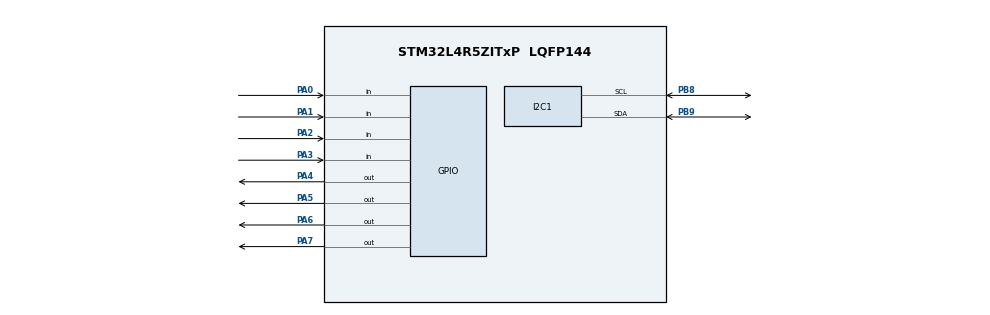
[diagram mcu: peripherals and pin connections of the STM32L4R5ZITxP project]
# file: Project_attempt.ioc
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I2C1.Speed=40
I2C1.Timing=0x00000E50
Mcu.Family=STM32L4
Mcu.Name=STM32L4R5ZITxP
Mcu.Package=LQFP144
NVIC.PriorityGroup=NVIC_PRIORITYGROUP_4
PA0.Signal=GPIO_Input
PA1.Signal=GPIO_Input
PA10.Signal=USB_OTG_FS_ID
PA13\ (JTMS/SWDIO).Signal=SYS_JTMS-SWDIO
PA14\ (JTCK/SWCLK).Signal=SYS_JTCK-SWCLK
PA2.Signal=GPIO_Input
PA3.Signal=GPIO_Input
PA4.Signal=GPIO_Output
PA5.Signal=GPIO_Output
PA6.Signal=GPIO_Output
PA7.Signal=GPIO_Output
PA8.Signal=USB_OTG_FS_SOF
PA9.Signal=USB_OTG_FS_VBUS
PB0.Signal=S_TIM3_CH3
PB1.Signal=ADCx_IN16
PB10.Signal=S_TIM2_CH3
PB12.Signal=SAI2_FS_A
PB13.Signal=SAI2_SCK_A
PB14.Signal=S_TIM15_CH1
PB15.Signal=SAI2_SD_A
PB2.Signal=COMP1_INP
PB3\ (JTDO/TRACESWO).Signal=SPI3_SCK
PB4\ (NJTRST).Signal=SPI3_MISO
PB5.Signal=SPI3_MOSI
PB6.Signal=COMP2_INP
PB8.Mode=I2C
PB8.Signal=I2C1_SCL
PB9.Mode=I2C
PB9.Signal=I2C1_SDA
PC0.Signal=ADCx_IN1
PC1.Signal=ADCx_IN2
PC10.Signal=SDMMC1_D2
PC11.Signal=SDMMC1_D3
PC12.Signal=SDMMC1_CK
PC13.Signal=SYS_WKUP2
PC14-OSC32_IN\ (PC14).Signal=RCC_OSC32_IN
PC15-OSC32_OUT\ (PC15).Signal=RCC_OSC32_OUT
PC2.Signal=ADCx_IN3
PC3.Signal=ADCx_IN4
PC4.Signal=ADCx_IN13
PC5.Signal=ADCx_IN14
PC6.Signal=SAI2_MCLK_A
PC7.Signal=S_TIM3_CH2
PC8.Signal=SDMMC1_D0
PC9.Signal=SDMMC1_D1
PD0.Signal=CAN1_RX
PD14.Signal=S_TIM4_CH3
PD15.Signal=S_TIM4_CH4
PD2.Signal=SDMMC1_CMD
PD3.Signal=USART2_CTS
PD4.Signal=USART2_RTS
PD5.Signal=USART2_TX
PD6.Signal=USART2_RX
PD8.Signal=USART3_TX
PD9.Signal=USART3_RX
PE0.Signal=S_TIM4_ETR
PE10.Signal=TIM1_CH2N
PE11.Signal=S_TIM1_CH2
PE12.Signal=TIM1_CH3N
PE13.Signal=S_TIM1_CH3
PE14.Signal=TIM1_BKIN2
PE15.Signal=TIM1_BKIN
PE2.Signal=SAI1_MCLK_A
PE3.Signal=SAI1_SD_B
PE7.Signal=S_TIM1_ETR
PE8.Signal=TIM1_CH1N
PE9.Signal=S_TIM1_CH1
PF0.Signal=I2C2_SDA
PF1.Signal=I2C2_SCL
PF2.Signal=I2C2_SMBA
PF7.Signal=SAI1_MCLK_B
PG7.Signal=LPUART1_TX
PG8.Signal=LPUART1_RX
PH0-OSC_IN\ (PH0).Signal=RCC_OSC_IN
PH1-OSC_OUT\ (PH1).Signal=RCC_OSC_OUT
ProjectManager.HeapSize=0x200
ProjectManager.StackSize=0x400
ProjectManager.TargetToolchain=STM32CubeIDE
RCC.HSE_VALUE=8000000
RCC.HSI48_VALUE=48000000
RCC.HSI_VALUE=16000000
RCC.LSE_VALUE=32768
RCC.MSI_VALUE=4000000
RCC.VCOOutputFreq_Value=32000000
SH.ADCx_IN1.0=ADC1_IN1
SH.ADCx_IN13.0=ADC1_IN13
SH.ADCx_IN14.0=ADC1_IN14
SH.ADCx_IN16.0=ADC1_IN16
SH.ADCx_IN2.0=ADC1_IN2
SH.ADCx_IN3.0=ADC1_IN3
SH.ADCx_IN4.0=ADC1_IN4
SH.S_TIM15_CH1.0=TIM15_CH1
SH.S_TIM1_CH1.0=TIM1_CH1
SH.S_TIM1_CH2.0=TIM1_CH2
SH.S_TIM1_CH3.0=TIM1_CH3
SH.S_TIM1_ETR.0=TIM1_ETR
SH.S_TIM2_CH3.0=TIM2_CH3
SH.S_TIM3_CH2.0=TIM3_CH2
SH.S_TIM3_CH3.0=TIM3_CH3
SH.S_TIM4_CH3.0=TIM4_CH3
SH.S_TIM4_CH4.0=TIM4_CH4
SH.S_TIM4_ETR.0=TIM4_ETR
board=NUCLEO-L4R5ZI-P

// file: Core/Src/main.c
/* USER CODE BEGIN Header */
/**
  ******************************************************************************
  * @file           : main.c
  * @brief          : Main program body
  ******************************************************************************
  ** This notice applies to any and all portions of this file
  * that are not between comment pairs USER CODE BEGIN and
  * USER CODE END. Other portions of this file, whether
  * inserted by the user or by software development tools
  * are owned by their respective copyright owners.
  *
  * COPYRIGHT(c) 2019 STMicroelectronics
  *
  * Redistribution and use in source and binary forms, with or without modification,
  * are permitted provided that the following conditions are met:
  *   1. Redistributions of source code must retain the above copyright notice,
  *      this list of conditions and the following disclaimer.
  *   2. Redistributions in binary form must reproduce the above copyright notice,
  *      this list of conditions and the following disclaimer in the documentation
  *      and/or other materials provided with the distribution.
  *   3. Neither the name of STMicroelectronics nor the names of its contributors
  *      may be used to endorse or promote products derived from this software
  *      without specific prior written permission.
  *
  * THIS SOFTWARE IS PROVIDED BY THE COPYRIGHT HOLDERS AND CONTRIBUTORS "AS IS"
  * AND ANY EXPRESS OR IMPLIED WARRANTIES, INCLUDING, BUT NOT LIMITED TO, THE
  * IMPLIED WARRANTIES OF MERCHANTABILITY AND FITNESS FOR A PARTICULAR PURPOSE ARE
  * DISCLAIMED. IN NO EVENT SHALL THE COPYRIGHT HOLDER OR CONTRIBUTORS BE LIABLE
  * FOR ANY DIRECT, INDIRECT, INCIDENTAL, SPECIAL, EXEMPLARY, OR CONSEQUENTIAL
  * DAMAGES (INCLUDING, BUT NOT LIMITED TO, PROCUREMENT OF SUBSTITUTE GOODS OR
  * SERVICES; LOSS OF USE, DATA, OR PROFITS; OR BUSINESS INTERRUPTION) HOWEVER
  * CAUSED AND ON ANY THEORY OF LIABILITY, WHETHER IN CONTRACT, STRICT LIABILITY,
  * OR TORT (INCLUDING NEGLIGENCE OR OTHERWISE) ARISING IN ANY WAY OUT OF THE USE
  * OF THIS SOFTWARE, EVEN IF ADVISED OF THE POSSIBILITY OF SUCH DAMAGE.
  *
  ******************************************************************************
  */
/* USER CODE END Header */
#include "main.h"
#include <string.h>
/* USER CODE BEGIN Includes */
#include "i2c-lcd.h"
/* USER CODE END Includes */

/* USER CODE BEGIN PD */
#define R1_PORT GPIOA
#define R1_PIN GPIO_PIN_7

#define R2_PORT GPIOA
#define R2_PIN GPIO_PIN_6

#define R3_PORT GPIOA
#define R3_PIN GPIO_PIN_5

#define R4_PORT GPIOA
#define R4_PIN GPIO_PIN_4

#define C1_PORT GPIOA
#define C1_PIN GPIO_PIN_3

#define C2_PORT GPIOA
#define C2_PIN GPIO_PIN_2

#define C3_PORT GPIOA
#define C3_PIN GPIO_PIN_1

#define C4_PORT GPIOA
#define C4_PIN GPIO_PIN_0

/* USER CODE END PD */

I2C_HandleTypeDef hi2c1;

void SystemClock_Config(void);
static void MX_GPIO_Init(void);
static void MX_I2C1_Init(void);

/* USER CODE BEGIN 0 */
uint8_t key;

char read_keypad (void)
{
	/* Make ROW 1 LOW and all other ROWs HIGH */
	HAL_GPIO_WritePin (R1_PORT, R1_PIN, 0);  //Pull the R1 low
	HAL_GPIO_WritePin (R2_PORT, R2_PIN, 1);  // Pull the R2 High
	HAL_GPIO_WritePin (R3_PORT, R3_PIN, 1);  // Pull the R3 High
	HAL_GPIO_WritePin (R4_PORT, R4_PIN, 1);  // Pull the R4 High

	if (!(HAL_GPIO_ReadPin (C1_PORT, C1_PIN)))   // if the Col 1 is low
	{
		while (!(HAL_GPIO_ReadPin (C1_PORT, C1_PIN)));   // wait till the button is pressed
		lcd_send_data(0x31); // i
		return '1';
	}

	if (!(HAL_GPIO_ReadPin (C2_PORT, C2_PIN)))   // if the Col 2 is low
	{
		while (!(HAL_GPIO_ReadPin (C2_PORT, C2_PIN)));   // wait till the button is pressed
		lcd_send_data(0x32); // i
		return '2';
	}

	if (!(HAL_GPIO_ReadPin (C3_PORT, C3_PIN)))   // if the Col 3 is low
	{
		while (!(HAL_GPIO_ReadPin (C3_PORT, C3_PIN)));   // wait till the button is pressed
		lcd_send_data(0x33); // i
		return '3';
	}

	if (!(HAL_GPIO_ReadPin (C4_PORT, C4_PIN)))   // if the Col 4 is low
	{
		while (!(HAL_GPIO_ReadPin (C4_PORT, C4_PIN)));   // wait till the button is pressed
		lcd_send_data(0x41); // i
		return 'A';
	}

	/* Make ROW 2 LOW and all other ROWs HIGH */
	HAL_GPIO_WritePin (R1_PORT, R1_PIN, 1);  //Pull the R1 low
	HAL_GPIO_WritePin (R2_PORT, R2_PIN, 0);  // Pull the R2 High
	HAL_GPIO_WritePin (R3_PORT, R3_PIN, 1);  // Pull the R3 High
	HAL_GPIO_WritePin (R4_PORT, R4_PIN, 1);  // Pull the R4 High

	if (!(HAL_GPIO_ReadPin (C1_PORT, C1_PIN)))   // if the Col 1 is low
	{
		while (!(HAL_GPIO_ReadPin (C1_PORT, C1_PIN)));   // wait till the button is pressed
		lcd_send_data(0x34); // i
		return '4';
	}

	if (!(HAL_GPIO_ReadPin (C2_PORT, C2_PIN)))   // if the Col 2 is low
	{
		while (!(HAL_GPIO_ReadPin (C2_PORT, C2_PIN)));   // wait till the button is pressed
		lcd_send_data(0x35); // i
		return '5';
	}

	if (!(HAL_GPIO_ReadPin (C3_PORT, C3_PIN)))   // if the Col 3 is low
	{
		while (!(HAL_GPIO_ReadPin (C3_PORT, C3_PIN)));   // wait till the button is pressed
		lcd_send_data(0x36); // i
		return '6';
	}

	if (!(HAL_GPIO_ReadPin (C4_PORT, C4_PIN)))   // if the Col 4 is low
	{
		while (!(HAL_GPIO_ReadPin (C4_PORT, C4_PIN)));   // wait till the button is pressed
		lcd_send_data(0x42); // i
		return 'B';
	}

	/* Make ROW 3 LOW and all other ROWs HIGH */
	HAL_GPIO_WritePin (R1_PORT, R1_PIN, 1);  //Pull the R1 low
	HAL_GPIO_WritePin (R2_PORT, R2_PIN, 1);  // Pull the R2 High
	HAL_GPIO_WritePin (R3_PORT, R3_PIN, 0);  // Pull the R3 High
	HAL_GPIO_WritePin (R4_PORT, R4_PIN, 1);  // Pull the R4 High

	if (!(HAL_GPIO_ReadPin (C1_PORT, C1_PIN)))   // if the Col 1 is low
	{
		while (!(HAL_GPIO_ReadPin (C1_PORT, C1_PIN)));   // wait till the button is pressed
		lcd_send_data(0x37); // i
		return '7';
	}

	if (!(HAL_GPIO_ReadPin (C2_PORT, C2_PIN)))   // if the Col 2 is low
	{
		while (!(HAL_GPIO_ReadPin (C2_PORT, C2_PIN)));   // wait till the button is pressed
		lcd_send_data(0x38); // i
		return '8';
	}

	if (!(HAL_GPIO_ReadPin (C3_PORT, C3_PIN)))   // if the Col 3 is low
	{
		while (!(HAL_GPIO_ReadPin (C3_PORT, C3_PIN)));   // wait till the button is pressed
		lcd_send_data(0x39); // i
		return '9';
	}

	if (!(HAL_GPIO_ReadPin (C4_PORT, C4_PIN)))   // if the Col 4 is low
	{
		while (!(HAL_GPIO_ReadPin (C4_PORT, C4_PIN)));   // wait till the button is pressed
		return 'C';
	}

	/* Make ROW 4 LOW and all other ROWs HIGH */
	HAL_GPIO_WritePin (R1_PORT, R1_PIN, 1);  //Pull the R1 low
	HAL_GPIO_WritePin (R2_PORT, R2_PIN, 1);  // Pull the R2 High
	HAL_GPIO_WritePin (R3_PORT, R3_PIN, 1);  // Pull the R3 High
	HAL_GPIO_WritePin (R4_PORT, R4_PIN, 0);  // Pull the R4 High

	if (!(HAL_GPIO_ReadPin (C1_PORT, C1_PIN)))   // if the Col 1 is low
	{
		while (!(HAL_GPIO_ReadPin (C1_PORT, C1_PIN)));   // wait till the button is pressed
		return '*';
	}

	if (!(HAL_GPIO_ReadPin (C2_PORT, C2_PIN)))   // if the Col 2 is low
	{
		while (!(HAL_GPIO_ReadPin (C2_PORT, C2_PIN)));   // wait till the button is pressed
		lcd_send_data(0x30); // i
		return '0';
	}

	if (!(HAL_GPIO_ReadPin (C3_PORT, C3_PIN)))   // if the Col 3 is low
	{
		while (!(HAL_GPIO_ReadPin (C3_PORT, C3_PIN)));   // wait till the button is pressed
		lcd_send_data(0x23); // i
		return '#';
	}

	if (!(HAL_GPIO_ReadPin (C4_PORT, C4_PIN)))   // if the Col 4 is low
	{
		while (!(HAL_GPIO_ReadPin (C4_PORT, C4_PIN)));   // wait till the button is pressed
		lcd_send_data(0x44); // i
		return 'D';
	}

	return 0; // if returned, 0, we got an error

}

/* USER CODE END 0 */

int main(void)
{

  /* MCU Configuration--------------------------------------------------------*/

  /* Reset of all peripherals, Initializes the Flash interface and the Systick. */
  HAL_Init();

  /* Configure the system clock */
  SystemClock_Config();

  /* Initialize all configured peripherals */
  MX_GPIO_Init();
  MX_I2C1_Init();
  /* USER CODE BEGIN 2 */
  lcd_init();
  /* USER CODE END 2 */

  /* Infinite loop */
  /* USER CODE BEGIN WHILE */
char real_password[8] = "28664#D";
char nice[] = "69420";
char pass[11] = "\0";
int index = 0;

  while (1)
  {
    /* USER CODE END WHILE */

    /* USER CODE BEGIN 3 */
	  	 // Initialize an empty password of size 10 because of Null
	    char key = 0;
	    while (!key) {
	    	key = read_keypad ();
	    }
		if (key != 'C' && key != '*' && strlen(pass) < 10) {
		    // Append the key to the string
			pass[index++] = key;
			pass[index] = '\0';
		}
		if (key == 'C'){
			pass[0] = '\0';
			index = 0;
			lcd_init();
  	  	  }
		if (key == '*'){
			if (!strcmp(pass, nice)){
				lcd_nice();
			}
			else if (!strcmp(pass, real_password)) {
			     lcd_correct_pass();
			} else {
			     lcd_incorrect_pass();
			}
			pass[0] = '\0';
			index = 0;
			lcd_init();
		}

//		if (key!=0x01)
//		{
//		//lcd_send_cmd (0x85); dont know what this was supposed to be
//		lcd_send_data (key);
//		}
  }
  /* USER CODE END 3 */
}

void SystemClock_Config(void)
{
  RCC_OscInitTypeDef RCC_OscInitStruct = {0};
  RCC_ClkInitTypeDef RCC_ClkInitStruct = {0};

  /** Configure the main internal regulator output voltage
  */
  if (HAL_PWREx_ControlVoltageScaling(PWR_REGULATOR_VOLTAGE_SCALE1) != HAL_OK)
  {
    Error_Handler();
  }

  /** Initializes the RCC Oscillators according to the specified parameters
  * in the RCC_OscInitTypeDef structure.
  */
  RCC_OscInitStruct.OscillatorType = RCC_OSCILLATORTYPE_MSI;
  RCC_OscInitStruct.MSIState = RCC_MSI_ON;
  RCC_OscInitStruct.MSICalibrationValue = 0;
  RCC_OscInitStruct.MSIClockRange = RCC_MSIRANGE_6;
  RCC_OscInitStruct.PLL.PLLState = RCC_PLL_NONE;
  if (HAL_RCC_OscConfig(&RCC_OscInitStruct) != HAL_OK)
  {
    Error_Handler();
  }

  /** Initializes the CPU, AHB and APB buses clocks
  */
  RCC_ClkInitStruct.ClockType = RCC_CLOCKTYPE_HCLK|RCC_CLOCKTYPE_SYSCLK
                              |RCC_CLOCKTYPE_PCLK1|RCC_CLOCKTYPE_PCLK2;
  RCC_ClkInitStruct.SYSCLKSource = RCC_SYSCLKSOURCE_MSI;
  RCC_ClkInitStruct.AHBCLKDivider = RCC_SYSCLK_DIV1;
  RCC_ClkInitStruct.APB1CLKDivider = RCC_HCLK_DIV1;
  RCC_ClkInitStruct.APB2CLKDivider = RCC_HCLK_DIV1;

  if (HAL_RCC_ClockConfig(&RCC_ClkInitStruct, FLASH_LATENCY_0) != HAL_OK)
  {
    Error_Handler();
  }
}

static void MX_I2C1_Init(void)
{

  hi2c1.Instance = I2C1;
  hi2c1.Init.Timing = 0x00000E50;
  hi2c1.Init.OwnAddress1 = 0;
  hi2c1.Init.AddressingMode = I2C_ADDRESSINGMODE_7BIT;
  hi2c1.Init.DualAddressMode = I2C_DUALADDRESS_DISABLE;
  hi2c1.Init.OwnAddress2 = 0;
  hi2c1.Init.OwnAddress2Masks = I2C_OA2_NOMASK;
  hi2c1.Init.GeneralCallMode = I2C_GENERALCALL_DISABLE;
  hi2c1.Init.NoStretchMode = I2C_NOSTRETCH_DISABLE;
  if (HAL_I2C_Init(&hi2c1) != HAL_OK)
  {
    Error_Handler();
  }

  /** Configure Analogue filter
  */
  if (HAL_I2CEx_ConfigAnalogFilter(&hi2c1, I2C_ANALOGFILTER_ENABLE) != HAL_OK)
  {
    Error_Handler();
  }

  /** Configure Digital filter
  */
  if (HAL_I2CEx_ConfigDigitalFilter(&hi2c1, 0) != HAL_OK)
  {
    Error_Handler();
  }

}

static void MX_GPIO_Init(void)
{
  GPIO_InitTypeDef GPIO_InitStruct = {0};

  /* GPIO Ports Clock Enable */
  __HAL_RCC_GPIOE_CLK_ENABLE();
  __HAL_RCC_GPIOC_CLK_ENABLE();
  __HAL_RCC_GPIOF_CLK_ENABLE();
  __HAL_RCC_GPIOH_CLK_ENABLE();
  __HAL_RCC_GPIOA_CLK_ENABLE();
  __HAL_RCC_GPIOB_CLK_ENABLE();
  __HAL_RCC_GPIOD_CLK_ENABLE();
  __HAL_RCC_GPIOG_CLK_ENABLE();
  HAL_PWREx_EnableVddIO2();

  /*Configure GPIO pin Output Level */
  HAL_GPIO_WritePin(GPIOA, GPIO_PIN_4|GPIO_PIN_5|GPIO_PIN_6|GPIO_PIN_7, GPIO_PIN_RESET);

  /*Configure GPIO pins : PE2 PE3 */
  GPIO_InitStruct.Pin = GPIO_PIN_2|GPIO_PIN_3;
  GPIO_InitStruct.Mode = GPIO_MODE_AF_PP;
  GPIO_InitStruct.Pull = GPIO_NOPULL;
  GPIO_InitStruct.Speed = GPIO_SPEED_FREQ_LOW;
  GPIO_InitStruct.Alternate = GPIO_AF13_SAI1;
  HAL_GPIO_Init(GPIOE, &GPIO_InitStruct);

  /*Configure GPIO pins : PF0 PF1 PF2 */
  GPIO_InitStruct.Pin = GPIO_PIN_0|GPIO_PIN_1|GPIO_PIN_2;
  GPIO_InitStruct.Mode = GPIO_MODE_AF_OD;
  GPIO_InitStruct.Pull = GPIO_NOPULL;
  GPIO_InitStruct.Speed = GPIO_SPEED_FREQ_VERY_HIGH;
  GPIO_InitStruct.Alternate = GPIO_AF4_I2C2;
  HAL_GPIO_Init(GPIOF, &GPIO_InitStruct);

  /*Configure GPIO pin : PF7 */
  GPIO_InitStruct.Pin = GPIO_PIN_7;
  GPIO_InitStruct.Mode = GPIO_MODE_AF_PP;
  GPIO_InitStruct.Pull = GPIO_NOPULL;
  GPIO_InitStruct.Speed = GPIO_SPEED_FREQ_LOW;
  GPIO_InitStruct.Alternate = GPIO_AF13_SAI1;
  HAL_GPIO_Init(GPIOF, &GPIO_InitStruct);

  /*Configure GPIO pins : PC0 PC1 PC2 PC3
                           PC4 PC5 */
  GPIO_InitStruct.Pin = GPIO_PIN_0|GPIO_PIN_1|GPIO_PIN_2|GPIO_PIN_3
                          |GPIO_PIN_4|GPIO_PIN_5;
  GPIO_InitStruct.Mode = GPIO_MODE_ANALOG_ADC_CONTROL;
  GPIO_InitStruct.Pull = GPIO_NOPULL;
  HAL_GPIO_Init(GPIOC, &GPIO_InitStruct);

  /*Configure GPIO pins : PA0 PA1 PA2 PA3 */
  GPIO_InitStruct.Pin = GPIO_PIN_0|GPIO_PIN_1|GPIO_PIN_2|GPIO_PIN_3;
  GPIO_InitStruct.Mode = GPIO_MODE_INPUT;
  GPIO_InitStruct.Pull = GPIO_NOPULL;
  HAL_GPIO_Init(GPIOA, &GPIO_InitStruct);

  /*Configure GPIO pins : PA4 PA5 PA6 PA7 */
  GPIO_InitStruct.Pin = GPIO_PIN_4|GPIO_PIN_5|GPIO_PIN_6|GPIO_PIN_7;
  GPIO_InitStruct.Mode = GPIO_MODE_OUTPUT_PP;
  GPIO_InitStruct.Pull = GPIO_NOPULL;
  GPIO_InitStruct.Speed = GPIO_SPEED_FREQ_LOW;
  HAL_GPIO_Init(GPIOA, &GPIO_InitStruct);

  /*Configure GPIO pin : PB0 */
  GPIO_InitStruct.Pin = GPIO_PIN_0;
  GPIO_InitStruct.Mode = GPIO_MODE_AF_PP;
  GPIO_InitStruct.Pull = GPIO_NOPULL;
  GPIO_InitStruct.Speed = GPIO_SPEED_FREQ_LOW;
  GPIO_InitStruct.Alternate = GPIO_AF2_TIM3;
  HAL_GPIO_Init(GPIOB, &GPIO_InitStruct);

  /*Configure GPIO pin : PB1 */
  GPIO_InitStruct.Pin = GPIO_PIN_1;
  GPIO_InitStruct.Mode = GPIO_MODE_ANALOG_ADC_CONTROL;
  GPIO_InitStruct.Pull = GPIO_NOPULL;
  HAL_GPIO_Init(GPIOB, &GPIO_InitStruct);

  /*Configure GPIO pins : PB2 PB6 */
  GPIO_InitStruct.Pin = GPIO_PIN_2|GPIO_PIN_6;
  GPIO_InitStruct.Mode = GPIO_MODE_ANALOG;
  GPIO_InitStruct.Pull = GPIO_NOPULL;
  HAL_GPIO_Init(GPIOB, &GPIO_InitStruct);

  /*Configure GPIO pins : PE7 PE8 PE9 PE10
                           PE11 PE12 PE13 */
  GPIO_InitStruct.Pin = GPIO_PIN_7|GPIO_PIN_8|GPIO_PIN_9|GPIO_PIN_10
                          |GPIO_PIN_11|GPIO_PIN_12|GPIO_PIN_13;
  GPIO_InitStruct.Mode = GPIO_MODE_AF_PP;
  GPIO_InitStruct.Pull = GPIO_NOPULL;
  GPIO_InitStruct.Speed = GPIO_SPEED_FREQ_LOW;
  GPIO_InitStruct.Alternate = GPIO_AF1_TIM1;
  HAL_GPIO_Init(GPIOE, &GPIO_InitStruct);

  /*Configure GPIO pins : PE14 PE15 */
  GPIO_InitStruct.Pin = GPIO_PIN_14|GPIO_PIN_15;
  GPIO_InitStruct.Mode = GPIO_MODE_AF_PP;
  GPIO_InitStruct.Pull = GPIO_NOPULL;
  GPIO_InitStruct.Speed = GPIO_SPEED_FREQ_LOW;
  GPIO_InitStruct.Alternate = GPIO_AF3_TIM1_COMP1;
  HAL_GPIO_Init(GPIOE, &GPIO_InitStruct);

  /*Configure GPIO pin : PB10 */
  GPIO_InitStruct.Pin = GPIO_PIN_10;
  GPIO_InitStruct.Mode = GPIO_MODE_AF_PP;
  GPIO_InitStruct.Pull = GPIO_NOPULL;
  GPIO_InitStruct.Speed = GPIO_SPEED_FREQ_LOW;
  GPIO_InitStruct.Alternate = GPIO_AF1_TIM2;
  HAL_GPIO_Init(GPIOB, &GPIO_InitStruct);

  /*Configure GPIO pins : PB12 PB13 PB15 */
  GPIO_InitStruct.Pin = GPIO_PIN_12|GPIO_PIN_13|GPIO_PIN_15;
  GPIO_InitStruct.Mode = GPIO_MODE_AF_PP;
  GPIO_InitStruct.Pull = GPIO_NOPULL;
  GPIO_InitStruct.Speed = GPIO_SPEED_FREQ_LOW;
  GPIO_InitStruct.Alternate = GPIO_AF13_SAI2;
  HAL_GPIO_Init(GPIOB, &GPIO_InitStruct);

  /*Configure GPIO pin : PB14 */
  GPIO_InitStruct.Pin = GPIO_PIN_14;
  GPIO_InitStruct.Mode = GPIO_MODE_AF_PP;
  GPIO_InitStruct.Pull = GPIO_NOPULL;
  GPIO_InitStruct.Speed = GPIO_SPEED_FREQ_LOW;
  GPIO_InitStruct.Alternate = GPIO_AF14_TIM15;
  HAL_GPIO_Init(GPIOB, &GPIO_InitStruct);

  /*Configure GPIO pins : PD8 PD9 */
  GPIO_InitStruct.Pin = GPIO_PIN_8|GPIO_PIN_9;
  GPIO_InitStruct.Mode = GPIO_MODE_AF_PP;
  GPIO_InitStruct.Pull = GPIO_NOPULL;
  GPIO_InitStruct.Speed = GPIO_SPEED_FREQ_VERY_HIGH;
  GPIO_InitStruct.Alternate = GPIO_AF7_USART3;
  HAL_GPIO_Init(GPIOD, &GPIO_InitStruct);

  /*Configure GPIO pins : PD14 PD15 */
  GPIO_InitStruct.Pin = GPIO_PIN_14|GPIO_PIN_15;
  GPIO_InitStruct.Mode = GPIO_MODE_AF_PP;
  GPIO_InitStruct.Pull = GPIO_NOPULL;
  GPIO_InitStruct.Speed = GPIO_SPEED_FREQ_LOW;
  GPIO_InitStruct.Alternate = GPIO_AF2_TIM4;
  HAL_GPIO_Init(GPIOD, &GPIO_InitStruct);

  /*Configure GPIO pins : PG7 PG8 */
  GPIO_InitStruct.Pin = GPIO_PIN_7|GPIO_PIN_8;
  GPIO_InitStruct.Mode = GPIO_MODE_AF_PP;
  GPIO_InitStruct.Pull = GPIO_NOPULL;
  GPIO_InitStruct.Speed = GPIO_SPEED_FREQ_VERY_HIGH;
  GPIO_InitStruct.Alternate = GPIO_AF8_LPUART1;
  HAL_GPIO_Init(GPIOG, &GPIO_InitStruct);

  /*Configure GPIO pin : PC6 */
  GPIO_InitStruct.Pin = GPIO_PIN_6;
  GPIO_InitStruct.Mode = GPIO_MODE_AF_PP;
  GPIO_InitStruct.Pull = GPIO_NOPULL;
  GPIO_InitStruct.Speed = GPIO_SPEED_FREQ_LOW;
  GPIO_InitStruct.Alternate = GPIO_AF13_SAI2;
  HAL_GPIO_Init(GPIOC, &GPIO_InitStruct);

  /*Configure GPIO pin : PC7 */
  GPIO_InitStruct.Pin = GPIO_PIN_7;
  GPIO_InitStruct.Mode = GPIO_MODE_AF_PP;
  GPIO_InitStruct.Pull = GPIO_NOPULL;
  GPIO_InitStruct.Speed = GPIO_SPEED_FREQ_LOW;
  GPIO_InitStruct.Alternate = GPIO_AF2_TIM3;
  HAL_GPIO_Init(GPIOC, &GPIO_InitStruct);

  /*Configure GPIO pins : PC8 PC9 PC10 PC11
                           PC12 */
  GPIO_InitStruct.Pin = GPIO_PIN_8|GPIO_PIN_9|GPIO_PIN_10|GPIO_PIN_11
                          |GPIO_PIN_12;
  GPIO_InitStruct.Mode = GPIO_MODE_AF_PP;
  GPIO_InitStruct.Pull = GPIO_NOPULL;
  GPIO_InitStruct.Speed = GPIO_SPEED_FREQ_VERY_HIGH;
  GPIO_InitStruct.Alternate = GPIO_AF12_SDMMC1;
  HAL_GPIO_Init(GPIOC, &GPIO_InitStruct);

  /*Configure GPIO pins : PA8 PA10 */
  GPIO_InitStruct.Pin = GPIO_PIN_8|GPIO_PIN_10;
  GPIO_InitStruct.Mode = GPIO_MODE_AF_PP;
  GPIO_InitStruct.Pull = GPIO_NOPULL;
  GPIO_InitStruct.Speed = GPIO_SPEED_FREQ_VERY_HIGH;
  GPIO_InitStruct.Alternate = GPIO_AF10_OTG_FS;
  HAL_GPIO_Init(GPIOA, &GPIO_InitStruct);

  /*Configure GPIO pin : PA9 */
  GPIO_InitStruct.Pin = GPIO_PIN_9;
  GPIO_InitStruct.Mode = GPIO_MODE_INPUT;
  GPIO_InitStruct.Pull = GPIO_NOPULL;
  HAL_GPIO_Init(GPIOA, &GPIO_InitStruct);

  /*Configure GPIO pin : PD0 */
  GPIO_InitStruct.Pin = GPIO_PIN_0;
  GPIO_InitStruct.Mode = GPIO_MODE_AF_PP;
  GPIO_InitStruct.Pull = GPIO_NOPULL;
  GPIO_InitStruct.Speed = GPIO_SPEED_FREQ_VERY_HIGH;
  GPIO_InitStruct.Alternate = GPIO_AF9_CAN1;
  HAL_GPIO_Init(GPIOD, &GPIO_InitStruct);

  /*Configure GPIO pin : PD2 */
  GPIO_InitStruct.Pin = GPIO_PIN_2;
  GPIO_InitStruct.Mode = GPIO_MODE_AF_PP;
  GPIO_InitStruct.Pull = GPIO_NOPULL;
  GPIO_InitStruct.Speed = GPIO_SPEED_FREQ_VERY_HIGH;
  GPIO_InitStruct.Alternate = GPIO_AF12_SDMMC1;
  HAL_GPIO_Init(GPIOD, &GPIO_InitStruct);

  /*Configure GPIO pins : PD3 PD4 PD5 PD6 */
  GPIO_InitStruct.Pin = GPIO_PIN_3|GPIO_PIN_4|GPIO_PIN_5|GPIO_PIN_6;
  GPIO_InitStruct.Mode = GPIO_MODE_AF_PP;
  GPIO_InitStruct.Pull = GPIO_NOPULL;
  GPIO_InitStruct.Speed = GPIO_SPEED_FREQ_VERY_HIGH;
  GPIO_InitStruct.Alternate = GPIO_AF7_USART2;
  HAL_GPIO_Init(GPIOD, &GPIO_InitStruct);

  /*Configure GPIO pins : PB3 PB4 PB5 */
  GPIO_InitStruct.Pin = GPIO_PIN_3|GPIO_PIN_4|GPIO_PIN_5;
  GPIO_InitStruct.Mode = GPIO_MODE_AF_PP;
  GPIO_InitStruct.Pull = GPIO_NOPULL;
  GPIO_InitStruct.Speed = GPIO_SPEED_FREQ_VERY_HIGH;
  GPIO_InitStruct.Alternate = GPIO_AF6_SPI3;
  HAL_GPIO_Init(GPIOB, &GPIO_InitStruct);

  /*Configure GPIO pin : PE0 */
  GPIO_InitStruct.Pin = GPIO_PIN_0;
  GPIO_InitStruct.Mode = GPIO_MODE_AF_PP;
  GPIO_InitStruct.Pull = GPIO_NOPULL;
  GPIO_InitStruct.Speed = GPIO_SPEED_FREQ_LOW;
  GPIO_InitStruct.Alternate = GPIO_AF2_TIM4;
  HAL_GPIO_Init(GPIOE, &GPIO_InitStruct);

}

void Error_Handler(void)
{
}
